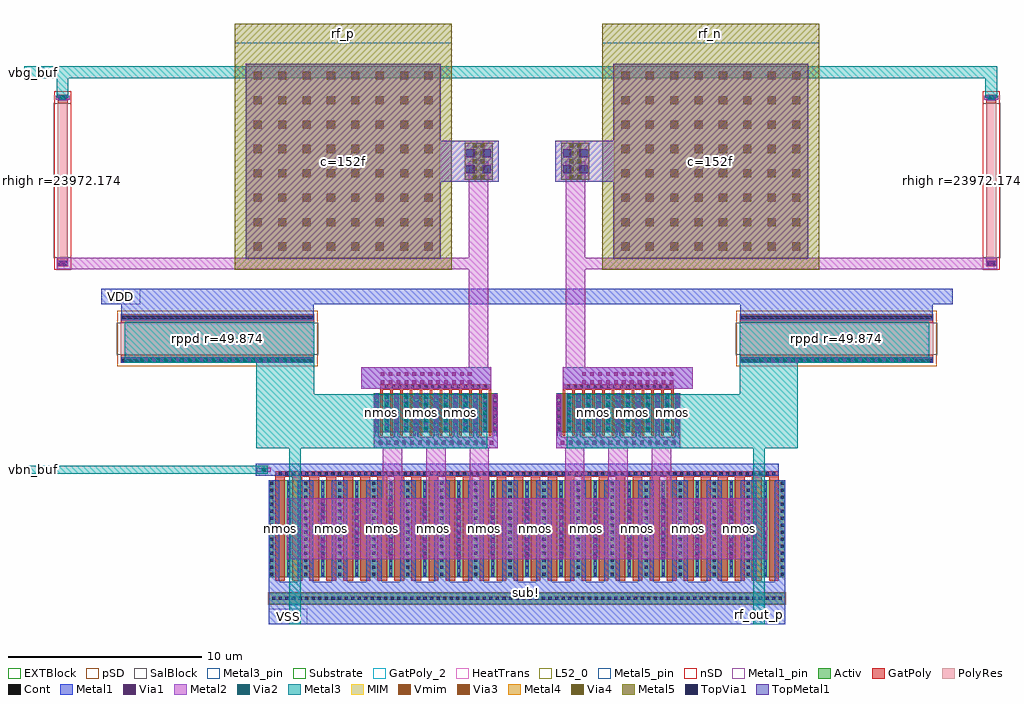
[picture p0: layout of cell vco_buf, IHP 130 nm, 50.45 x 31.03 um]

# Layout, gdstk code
import gdstk
lib = gdstk.Library(unit=1e-6, precision=1e-09)
def R(c, l, rs):  # rectangles x0, y0, x1, y1
    for r in rs: c.add(gdstk.rectangle(r[:2], r[2:], *l))
def A(c, l, x, y, w, h, nx, ny, dx, dy):  # array of equal rectangles
    R(c, l, [(x+i*dx, y+j*dy, x+i*dx+w, y+j*dy+h) for i in range(nx) for j in range(ny)])
def P(c, l, *ps):  # polygons
    for p in ps: c.add(gdstk.Polygon(p, *l))
Activ = (1, 0)
GatPoly = (5, 0)
GatPoly_2 = (5, 2)
Cont = (6, 0)
nSD = (7, 0)
Metal1 = (8, 0)
Metal1_pin = (8, 2)
Metal2 = (10, 0)
pSD = (14, 0)
Via1 = (19, 0)
SalBlock = (28, 0)
Via2 = (29, 0)
Metal3 = (30, 0)
Metal3_pin = (30, 2)
MIM = (36, 0)
Substrate = (40, 0)
Via3 = (49, 0)
Metal4 = (50, 0)
HeatTrans = (51, 0)
L52_0 = (52, 0)
Via4 = (66, 0)
Metal5 = (67, 0)
Metal5_pin = (67, 2)
EXTBlock = (111, 0)
TopVia1 = (125, 0)
TopMetal1 = (126, 0)
PolyRes = (128, 0)
Vmim = (129, 0)

vco_buf = lib.new_cell('vco_buf')
A(vco_buf, Activ, -13.35, -0.3, 0.3, 0.3, 31, 1, 0.88, 0)
A(vco_buf, Activ, -7.92, 4.2, 0.3, 0.3, 13, 1, 0.51, 0)
A(vco_buf, Activ, 1.5, 4.2, 0.3, 0.3, 13, 1, 0.51, 0)
R(vco_buf, Activ, [(-13.35,-6.4,13.35,-5.8), (-13.35,-5,13.35,0), (-7.92,2.5,-1.5,4.5), (1.5,2.5,7.92,4.5)])
A(vco_buf, GatPoly, -13.01, -5.18, 0.5, 5.36, 30, 1, 0.88, 0)
A(vco_buf, GatPoly, -7.58, 2.32, 0.13, 2.36, 12, 1, 0.51, 0)
A(vco_buf, GatPoly, 1.84, 2.32, 0.13, 2.36, 12, 1, 0.51, 0)
R(vco_buf, GatPoly, [(-13.01,0.18,13.01,0.48), (-12.9,0.18,12.9,0.48), (-7.58,4.68,-1.84,4.98), (-7.41,4.68,-2.01,4.98), (1.84,4.68,7.58,4.98), (2.01,4.68,7.41,4.98), (-21,6.07,-11,6.3), (11,6.07,21,6.3), (-21,6.3,-11,6.5), (11,6.3,21,6.5), (-21,8.15,-11,8.35), (11,8.15,21,8.35), (-21,8.35,-11,8.58), (11,8.35,21,8.58), (-24.25,11.07,-23.75,11.5), (23.75,11.07,24.25,11.5), (-24.25,19.5,-23.75,19.93), (23.75,19.5,24.25,19.93)])
R(vco_buf, GatPoly_2, [(-13.01,-5.18,-12.51,0.18), (-7.58,2.32,-7.45,4.68), (7.45,2.32,7.58,4.68)])
A(vco_buf, Cont, -13.17, -6.18, 0.16, 0.16, 78, 1, 0.34, 0)
A(vco_buf, Cont, -13.28, -4.93, 0.16, 0.16, 31, 2, 0.88, 0.365)
A(vco_buf, Cont, -13.28, -4.205, 0.16, 0.16, 31, 2, 0.88, 0.36)
A(vco_buf, Cont, -13.28, -3.48, 0.16, 0.16, 31, 3, 0.88, 0.36)
A(vco_buf, Cont, -13.28, -2.395, 0.16, 0.16, 31, 3, 0.88, 0.36)
A(vco_buf, Cont, -13.28, -1.31, 0.16, 0.16, 31, 4, 0.88, 0.36)
A(vco_buf, Cont, -12.83, 0.25, 0.16, 0.16, 76, 1, 0.34, 0)
A(vco_buf, Cont, -7.85, 2.57, 0.16, 0.16, 13, 6, 0.51, 0.34)
A(vco_buf, Cont, 1.57, 2.57, 0.16, 0.16, 13, 6, 0.51, 0.34)
A(vco_buf, Cont, -7.34, 4.75, 0.16, 0.16, 16, 1, 0.34, 0)
A(vco_buf, Cont, 2.08, 4.75, 0.16, 0.16, 16, 1, 0.34, 0)
R(vco_buf, Cont, [(-20.93,6.14,-11.07,6.3), (11.07,6.14,20.93,6.3), (-20.93,8.35,-11.07,8.51), (11.07,8.35,20.93,8.51), (-24.18,11.14,-23.82,11.3), (23.82,11.14,24.18,11.3), (-24.18,19.7,-23.82,19.86), (23.82,19.7,24.18,19.86)])
R(vco_buf, nSD, [(-24.43,10.89,-23.57,11.68), (23.57,10.89,24.43,11.68), (-24.43,11.5,-23.57,19.5), (-24.43,11.5,-23.57,19.5), (23.57,11.5,24.43,19.5), (23.57,11.5,24.43,19.5), (-24.43,19.32,-23.57,20.11), (23.57,19.32,24.43,20.11)])
R(vco_buf, Metal1, [(-14.01,0.25,13.01,0.85), (-8.58,4.75,-1.84,5.85), (1.84,4.75,8.58,5.85), (-20.98,6.07,-11.02,6.37), (11.02,6.07,20.98,6.37), (-24.23,11.09,-23.77,11.35), (23.77,11.09,24.23,11.35), (-24.23,19.65,-23.77,19.91), (23.77,19.65,24.23,19.91)])
P(vco_buf, Metal1, [(-12.4,-5),(-12.4,-4.08),(-12.425,-4.08),(-12.425,-0.92),(-12.4,-0.92),(-12.4,0),(-12.24,0),(-12.24,-0.92),(-12.215,-0.92),(-12.215,-4.08),(-12.24,-4.08),(-12.24,-5)],
  [(-10.64,-5),(-10.64,-4.08),(-10.665,-4.08),(-10.665,-0.92),(-10.64,-0.92),(-10.64,0),(-10.48,0),(-10.48,-0.92),(-10.455,-0.92),(-10.455,-4.08),(-10.48,-4.08),(-10.48,-5)],
  [(-8.88,-5),(-8.88,-4.08),(-8.905,-4.08),(-8.905,-0.92),(-8.88,-0.92),(-8.88,0),(-8.72,0),(-8.72,-0.92),(-8.695,-0.92),(-8.695,-4.08),(-8.72,-4.08),(-8.72,-5)],
  [(-7.12,-5),(-7.12,-4.08),(-7.145,-4.08),(-7.145,-0.92),(-7.12,-0.92),(-7.12,0),(-6.96,0),(-6.96,-0.92),(-6.935,-0.92),(-6.935,-4.08),(-6.96,-4.08),(-6.96,-5)],
  [(-5.36,-5),(-5.36,-4.08),(-5.385,-4.08),(-5.385,-0.92),(-5.36,-0.92),(-5.36,0),(-5.2,0),(-5.2,-0.92),(-5.175,-0.92),(-5.175,-4.08),(-5.2,-4.08),(-5.2,-5)],
  [(-3.6,-5),(-3.6,-4.08),(-3.625,-4.08),(-3.625,-0.92),(-3.6,-0.92),(-3.6,0),(-3.44,0),(-3.44,-0.92),(-3.415,-0.92),(-3.415,-4.08),(-3.44,-4.08),(-3.44,-5)],
  [(-1.84,-5),(-1.84,-4.08),(-1.865,-4.08),(-1.865,-0.92),(-1.84,-0.92),(-1.84,0),(-1.68,0),(-1.68,-0.92),(-1.655,-0.92),(-1.655,-4.08),(-1.68,-4.08),(-1.68,-5)],
  [(-0.08,-5),(-0.08,-4.08),(-0.105,-4.08),(-0.105,-0.92),(-0.08,-0.92),(-0.08,0),(0.08,0),(0.08,-0.92),(0.105,-0.92),(0.105,-4.08),(0.08,-4.08),(0.08,-5)],
  [(1.68,-5),(1.68,-4.08),(1.655,-4.08),(1.655,-0.92),(1.68,-0.92),(1.68,0),(1.84,0),(1.84,-0.92),(1.865,-0.92),(1.865,-4.08),(1.84,-4.08),(1.84,-5)],
  [(3.44,-5),(3.44,-4.08),(3.415,-4.08),(3.415,-0.92),(3.44,-0.92),(3.44,0),(3.6,0),(3.6,-0.92),(3.625,-0.92),(3.625,-4.08),(3.6,-4.08),(3.6,-5)],
  [(5.2,-5),(5.2,-4.08),(5.175,-4.08),(5.175,-0.92),(5.2,-0.92),(5.2,0),(5.36,0),(5.36,-0.92),(5.385,-0.92),(5.385,-4.08),(5.36,-4.08),(5.36,-5)],
  [(6.96,-5),(6.96,-4.08),(6.935,-4.08),(6.935,-0.92),(6.96,-0.92),(6.96,0),(7.12,0),(7.12,-0.92),(7.145,-0.92),(7.145,-4.08),(7.12,-4.08),(7.12,-5)],
  [(8.72,-5),(8.72,-4.08),(8.695,-4.08),(8.695,-0.92),(8.72,-0.92),(8.72,0),(8.88,0),(8.88,-0.92),(8.905,-0.92),(8.905,-4.08),(8.88,-4.08),(8.88,-5)],
  [(10.48,-5),(10.48,-4.08),(10.455,-4.08),(10.455,-0.92),(10.48,-0.92),(10.48,0),(10.64,0),(10.64,-0.92),(10.665,-0.92),(10.665,-4.08),(10.64,-4.08),(10.64,-5)],
  [(12.24,-5),(12.24,-4.08),(12.215,-4.08),(12.215,-0.92),(12.24,-0.92),(12.24,0),(12.4,0),(12.4,-0.92),(12.425,-0.92),(12.425,-4.08),(12.4,-4.08),(12.4,-5)],
  [(-13.35,-7.43),(-13.35,0),(-12.8,0),(-12.8,-5.25),(-11.84,-5.25),(-11.84,0),(-11.04,0),(-11.04,-5.25),(-10.08,-5.25),(-10.08,0),(-9.28,0),(-9.28,-5.25),(-8.32,-5.25),(-8.32,0),(-7.52,0),(-7.52,-5.25),(-6.56,-5.25),(-6.56,0),(-5.76,0),(-5.76,-5.25),(-4.8,-5.25),(-4.8,0),(-4,0),(-4,-5.25),(-3.04,-5.25),(-3.04,0),(-2.24,0),(-2.24,-5.25),(-1.28,-5.25),(-1.28,0),(-0.48,0),(-0.48,-5.25),(0.48,-5.25),(0.48,0),(1.28,0),(1.28,-5.25),(2.24,-5.25),(2.24,0),(3.04,0),(3.04,-5.25),(4,-5.25),(4,0),(4.8,0),(4.8,-5.25),(5.76,-5.25),(5.76,0),(6.56,0),(6.56,-5.25),(7.52,-5.25),(7.52,0),(8.32,0),(8.32,-5.25),(9.28,-5.25),(9.28,0),(10.08,0),(10.08,-5.25),(11.04,-5.25),(11.04,0),(11.84,0),(11.84,-5.25),(12.8,-5.25),(12.8,0),(13.35,0),(13.35,-7.43)],
  [(-7.34,2.5),(-7.34,2.535),(-7.365,2.535),(-7.365,4.465),(-7.34,4.465),(-7.34,4.5),(-7.18,4.5),(-7.18,4.465),(-7.155,4.465),(-7.155,2.535),(-7.18,2.535),(-7.18,2.5)],
  [(-6.32,2.5),(-6.32,2.535),(-6.345,2.535),(-6.345,4.465),(-6.32,4.465),(-6.32,4.5),(-6.16,4.5),(-6.16,4.465),(-6.135,4.465),(-6.135,2.535),(-6.16,2.535),(-6.16,2.5)],
  [(-5.3,2.5),(-5.3,2.535),(-5.325,2.535),(-5.325,4.465),(-5.3,4.465),(-5.3,4.5),(-5.14,4.5),(-5.14,4.465),(-5.115,4.465),(-5.115,2.535),(-5.14,2.535),(-5.14,2.5)],
  [(-4.28,2.5),(-4.28,2.535),(-4.305,2.535),(-4.305,4.465),(-4.28,4.465),(-4.28,4.5),(-4.12,4.5),(-4.12,4.465),(-4.095,4.465),(-4.095,2.535),(-4.12,2.535),(-4.12,2.5)],
  [(-3.26,2.5),(-3.26,2.535),(-3.285,2.535),(-3.285,4.465),(-3.26,4.465),(-3.26,4.5),(-3.1,4.5),(-3.1,4.465),(-3.075,4.465),(-3.075,2.535),(-3.1,2.535),(-3.1,2.5)],
  [(-2.24,2.5),(-2.24,2.535),(-2.265,2.535),(-2.265,4.465),(-2.24,4.465),(-2.24,4.5),(-2.08,4.5),(-2.08,4.465),(-2.055,4.465),(-2.055,2.535),(-2.08,2.535),(-2.08,2.5)],
  [(-7.92,1.65),(-7.92,2.25),(-7.85,2.25),(-7.85,2.535),(-7.875,2.535),(-7.875,4.465),(-7.85,4.465),(-7.85,4.5),(-7.69,4.5),(-7.69,4.465),(-7.665,4.465),(-7.665,2.535),(-7.69,2.535),(-7.69,2.25),(-6.83,2.25),(-6.83,2.535),(-6.855,2.535),(-6.855,4.465),(-6.83,4.465),(-6.83,4.5),(-6.67,4.5),(-6.67,4.465),(-6.645,4.465),(-6.645,2.535),(-6.67,2.535),(-6.67,2.25),(-5.81,2.25),(-5.81,2.535),(-5.835,2.535),(-5.835,4.465),(-5.81,4.465),(-5.81,4.5),(-5.65,4.5),(-5.65,4.465),(-5.625,4.465),(-5.625,2.535),(-5.65,2.535),(-5.65,2.25),(-4.79,2.25),(-4.79,2.535),(-4.815,2.535),(-4.815,4.465),(-4.79,4.465),(-4.79,4.5),(-4.63,4.5),(-4.63,4.465),(-4.605,4.465),(-4.605,2.535),(-4.63,2.535),(-4.63,2.25),(-3.77,2.25),(-3.77,2.535),(-3.795,2.535),(-3.795,4.465),(-3.77,4.465),(-3.77,4.5),(-3.61,4.5),(-3.61,4.465),(-3.585,4.465),(-3.585,2.535),(-3.61,2.535),(-3.61,2.25),(-2.75,2.25),(-2.75,2.535),(-2.775,2.535),(-2.775,4.465),(-2.75,4.465),(-2.75,4.5),(-2.59,4.5),(-2.59,4.465),(-2.565,4.465),(-2.565,2.535),(-2.59,2.535),(-2.59,2.25),(-1.73,2.25),(-1.73,2.535),(-1.755,2.535),(-1.755,4.465),(-1.73,4.465),(-1.73,4.5),(-1.57,4.5),(-1.57,4.465),(-1.545,4.465),(-1.545,2.535),(-1.57,2.535),(-1.57,2.25),(-1.5,2.25),(-1.5,1.65)],
  [(2.08,2.5),(2.08,2.535),(2.055,2.535),(2.055,4.465),(2.08,4.465),(2.08,4.5),(2.24,4.5),(2.24,4.465),(2.265,4.465),(2.265,2.535),(2.24,2.535),(2.24,2.5)],
  [(3.1,2.5),(3.1,2.535),(3.075,2.535),(3.075,4.465),(3.1,4.465),(3.1,4.5),(3.26,4.5),(3.26,4.465),(3.285,4.465),(3.285,2.535),(3.26,2.535),(3.26,2.5)],
  [(4.12,2.5),(4.12,2.535),(4.095,2.535),(4.095,4.465),(4.12,4.465),(4.12,4.5),(4.28,4.5),(4.28,4.465),(4.305,4.465),(4.305,2.535),(4.28,2.535),(4.28,2.5)],
  [(5.14,2.5),(5.14,2.535),(5.115,2.535),(5.115,4.465),(5.14,4.465),(5.14,4.5),(5.3,4.5),(5.3,4.465),(5.325,4.465),(5.325,2.535),(5.3,2.535),(5.3,2.5)],
  [(6.16,2.5),(6.16,2.535),(6.135,2.535),(6.135,4.465),(6.16,4.465),(6.16,4.5),(6.32,4.5),(6.32,4.465),(6.345,4.465),(6.345,2.535),(6.32,2.535),(6.32,2.5)],
  [(7.18,2.5),(7.18,2.535),(7.155,2.535),(7.155,4.465),(7.18,4.465),(7.18,4.5),(7.34,4.5),(7.34,4.465),(7.365,4.465),(7.365,2.535),(7.34,2.535),(7.34,2.5)],
  [(1.5,1.65),(1.5,2.25),(1.57,2.25),(1.57,2.535),(1.545,2.535),(1.545,4.465),(1.57,4.465),(1.57,4.5),(1.73,4.5),(1.73,4.465),(1.755,4.465),(1.755,2.535),(1.73,2.535),(1.73,2.25),(2.59,2.25),(2.59,2.535),(2.565,2.535),(2.565,4.465),(2.59,4.465),(2.59,4.5),(2.75,4.5),(2.75,4.465),(2.775,4.465),(2.775,2.535),(2.75,2.535),(2.75,2.25),(3.61,2.25),(3.61,2.535),(3.585,2.535),(3.585,4.465),(3.61,4.465),(3.61,4.5),(3.77,4.5),(3.77,4.465),(3.795,4.465),(3.795,2.535),(3.77,2.535),(3.77,2.25),(4.63,2.25),(4.63,2.535),(4.605,2.535),(4.605,4.465),(4.63,4.465),(4.63,4.5),(4.79,4.5),(4.79,4.465),(4.815,4.465),(4.815,2.535),(4.79,2.535),(4.79,2.25),(5.65,2.25),(5.65,2.535),(5.625,2.535),(5.625,4.465),(5.65,4.465),(5.65,4.5),(5.81,4.5),(5.81,4.465),(5.835,4.465),(5.835,2.535),(5.81,2.535),(5.81,2.25),(6.67,2.25),(6.67,2.535),(6.645,2.535),(6.645,4.465),(6.67,4.465),(6.67,4.5),(6.83,4.5),(6.83,4.465),(6.855,4.465),(6.855,2.535),(6.83,2.535),(6.83,2.25),(7.69,2.25),(7.69,2.535),(7.665,2.535),(7.665,4.465),(7.69,4.465),(7.69,4.5),(7.85,4.5),(7.85,4.465),(7.875,4.465),(7.875,2.535),(7.85,2.535),(7.85,2.25),(7.92,2.25),(7.92,1.65)],
  [(-20.98,8.28),(-20.98,9.1),(-22,9.1),(-22,9.9),(22,9.9),(22,9.1),(20.98,9.1),(20.98,8.28),(11.02,8.28),(11.02,9.1),(-11.02,9.1),(-11.02,8.28)])
R(vco_buf, Metal1_pin, [(-13.35,-7.43,-11.35,-6.63), (-13.17,-6.18,13.17,-6.02), (-13.28,-5,-13.12,0), (-12.4,-5,-12.24,0), (-7.85,2.5,-7.69,4.5), (-7.34,2.5,-7.18,4.5), (7.18,2.5,7.34,4.5), (7.69,2.5,7.85,4.5), (-20.98,6.07,-11.02,6.37), (11.02,6.07,20.98,6.37), (-20.98,8.28,-11.02,8.58), (11.02,8.28,20.98,8.58), (-22,9.1,-20,9.9), (-24.23,11.09,-23.77,11.35), (23.77,11.09,24.23,11.35), (-24.23,19.65,-23.77,19.91), (23.77,19.65,24.23,19.91)])
A(vco_buf, Metal2, -7.36, 2.535, 0.2, 1.93, 6, 1, 1.02, 0)
A(vco_buf, Metal2, 2.06, 2.535, 0.2, 1.93, 6, 1, 1.02, 0)
R(vco_buf, Metal2, [(-13.975,0.45,-13.245,0.65), (-20.04,6.12,-11.96,6.32), (11.96,6.12,20.04,6.32), (-24.365,19.68,-23.635,19.88), (23.635,19.68,24.365,19.88)])
P(vco_buf, Metal2, [(-12.42,-4.08),(-12.42,-0.92),(-7.455,-0.92),(-7.455,1.65),(-6.455,1.65),(-6.455,-0.92),(-5.21,-0.92),(-5.21,1.65),(-4.21,1.65),(-4.21,-0.92),(-2.965,-0.92),(-2.965,1.65),(-7.92,1.65),(-7.92,2.25),(-7.915,2.25),(-7.915,4.45),(-7.87,4.45),(-7.87,4.465),(-7.67,4.465),(-7.67,4.45),(-7.625,4.45),(-7.625,2.25),(-6.895,2.25),(-6.895,4.45),(-6.85,4.45),(-6.85,4.465),(-6.65,4.465),(-6.65,4.45),(-6.605,4.45),(-6.605,2.25),(-5.875,2.25),(-5.875,4.45),(-5.83,4.45),(-5.83,4.465),(-5.63,4.465),(-5.63,4.45),(-5.585,4.45),(-5.585,2.25),(-4.855,2.25),(-4.855,4.45),(-4.81,4.45),(-4.81,4.465),(-4.61,4.465),(-4.61,4.45),(-4.565,4.45),(-4.565,2.25),(-3.835,2.25),(-3.835,4.45),(-3.79,4.45),(-3.79,4.465),(-3.59,4.465),(-3.59,4.45),(-3.545,4.45),(-3.545,2.25),(-2.815,2.25),(-2.815,4.45),(-2.77,4.45),(-2.77,4.465),(-2.57,4.465),(-2.57,4.45),(-2.525,4.45),(-2.525,2.25),(-1.795,2.25),(-1.795,4.45),(-1.75,4.45),(-1.75,4.465),(-1.55,4.465),(-1.55,4.45),(-1.505,4.45),(-1.505,2.25),(-1.5,2.25),(-1.5,1.65),(-1.965,1.65),(-1.965,-0.92),(1.965,-0.92),(1.965,1.65),(2.965,1.65),(2.965,-0.92),(4.21,-0.92),(4.21,1.65),(5.21,1.65),(5.21,-0.92),(6.455,-0.92),(6.455,1.65),(1.5,1.65),(1.5,2.25),(1.505,2.25),(1.505,4.45),(1.55,4.45),(1.55,4.465),(1.75,4.465),(1.75,4.45),(1.795,4.45),(1.795,2.25),(2.525,2.25),(2.525,4.45),(2.57,4.45),(2.57,4.465),(2.77,4.465),(2.77,4.45),(2.815,4.45),(2.815,2.25),(3.545,2.25),(3.545,4.45),(3.59,4.45),(3.59,4.465),(3.79,4.465),(3.79,4.45),(3.835,4.45),(3.835,2.25),(4.565,2.25),(4.565,4.45),(4.61,4.45),(4.61,4.465),(4.81,4.465),(4.81,4.45),(4.855,4.45),(4.855,2.25),(5.585,2.25),(5.585,4.45),(5.63,4.45),(5.63,4.465),(5.83,4.465),(5.83,4.45),(5.875,4.45),(5.875,2.25),(6.605,2.25),(6.605,4.45),(6.65,4.45),(6.65,4.465),(6.85,4.465),(6.85,4.45),(6.895,4.45),(6.895,2.25),(7.625,2.25),(7.625,4.45),(7.67,4.45),(7.67,4.465),(7.87,4.465),(7.87,4.45),(7.915,4.45),(7.915,2.25),(7.92,2.25),(7.92,1.65),(7.455,1.65),(7.455,-0.92),(12.42,-0.92),(12.42,-4.08)],
  [(-8.58,4.75),(-8.58,5.85),(-3,5.85),(-3,10.92),(-24.3,10.92),(-24.3,11.52),(-3,11.52),(-3,16.5),(-2.805,16.5),(-2.805,17.465),(-2.195,17.465),(-2.195,16.5),(-2,16.5),(-2,5.85),(-1.84,5.85),(-1.84,4.75)],
  [(1.84,4.75),(1.84,5.85),(2,5.85),(2,16.5),(2.195,16.5),(2.195,17.465),(2.805,17.465),(2.805,16.5),(3,16.5),(3,11.52),(24.3,11.52),(24.3,10.92),(3,10.92),(3,5.85),(8.58,5.85),(8.58,4.75)])
R(vco_buf, pSD, [(-13.38,-6.43,13.38,-5.77), (-21.18,5.89,-10.82,6.5), (10.82,5.89,21.18,6.5), (-21.18,6.5,-10.82,8.15), (10.82,6.5,21.18,8.15), (-21.18,8.15,-10.82,8.76), (10.82,8.15,21.18,8.76), (-24.43,10.89,-23.57,11.68), (23.57,10.89,24.43,11.68), (-24.43,11.5,-23.57,19.5), (-24.43,11.5,-23.57,19.5), (23.57,11.5,24.43,19.5), (23.57,11.5,24.43,19.5), (-24.43,19.32,-23.57,20.11), (23.57,19.32,24.43,20.11)])
A(vco_buf, Via1, -12.415, -4.03, 0.19, 0.19, 15, 8, 1.76, 0.41)
A(vco_buf, Via1, -7.675, 1.855, 0.19, 0.19, 15, 1, 0.41, 0)
A(vco_buf, Via1, 1.745, 1.855, 0.19, 0.19, 15, 1, 0.41, 0)
A(vco_buf, Via1, -7.865, 2.585, 0.19, 0.19, 13, 5, 0.51, 0.41)
A(vco_buf, Via1, 1.555, 2.585, 0.19, 0.19, 13, 5, 0.51, 0.41)
A(vco_buf, Via1, -7.56, 5, 0.19, 0.19, 12, 2, 0.41, 0.41)
A(vco_buf, Via1, 2.86, 5, 0.19, 0.19, 12, 2, 0.41, 0.41)
A(vco_buf, Via1, -19.99, 6.125, 0.19, 0.19, 20, 1, 0.41, 0)
A(vco_buf, Via1, 12.01, 6.125, 0.19, 0.19, 20, 1, 0.41, 0)
R(vco_buf, Via1, [(-13.705,0.455,-13.515,0.645), (-24.095,11.125,-23.905,11.315), (23.905,11.125,24.095,11.315), (-24.095,19.685,-23.905,19.875), (23.905,19.685,24.095,19.875)])
R(vco_buf, SalBlock, [(-21.2,6.5,-10.8,8.15), (10.8,6.5,21.2,8.15), (-24.45,11.5,-23.55,19.5), (23.55,11.5,24.45,19.5)])
A(vco_buf, Via2, -7.355, 2.585, 0.19, 0.19, 6, 5, 1.02, 0.41)
A(vco_buf, Via2, 2.065, 2.585, 0.19, 0.19, 6, 5, 1.02, 0.41)
A(vco_buf, Via2, -19.99, 6.125, 0.19, 0.19, 20, 1, 0.41, 0)
A(vco_buf, Via2, 12.01, 6.125, 0.19, 0.19, 20, 1, 0.41, 0)
A(vco_buf, Via2, -2.8, 15.585, 0.19, 0.19, 1, 5, 0, 0.41)
A(vco_buf, Via2, -2.39, 15.585, 0.19, 0.19, 1, 5, 0, 0.41)
A(vco_buf, Via2, 2.2, 15.585, 0.19, 0.19, 1, 5, 0, 0.41)
A(vco_buf, Via2, 2.61, 15.585, 0.19, 0.19, 1, 5, 0, 0.41)
R(vco_buf, Via2, [(-13.705,0.455,-13.515,0.645), (-24.095,19.685,-23.905,19.875), (23.905,19.685,24.095,19.875)])
R(vco_buf, Metal3, [(-26,0.35,-13.41,0.75), (-2.805,15.535,-2.195,17.465), (2.195,15.535,2.805,17.465)])
P(vco_buf, Metal3, [(-12.3,-7.43),(-12.3,1.65),(-14,1.65),(-14,6.07),(-20.78,6.07),(-20.78,8.2),(-11,8.2),(-11,4.465),(-2.06,4.465),(-2.06,1.65),(-11.7,1.65),(-11.7,-7.43)],
  [(11.7,-7.43),(11.7,1.65),(2.06,1.65),(2.06,4.465),(11,4.465),(11,8.2),(20.78,8.2),(20.78,6.07),(14,6.07),(14,1.65),(12.3,1.65),(12.3,-7.43)],
  [(-24.145,19.68),(-24.145,19.78),(-24.3,19.78),(-24.3,20.8),(-26,20.8),(-26,21.4),(24.3,21.4),(24.3,19.78),(24.145,19.78),(24.145,19.68),(23.855,19.68),(23.855,19.78),(23.7,19.78),(23.7,20.8),(-23.7,20.8),(-23.7,19.78),(-23.855,19.78),(-23.855,19.68)])
R(vco_buf, Metal3_pin, [(-12.3,-7.43,-11.7,-6.43), (11.7,-7.43,12.3,-6.43), (-26,0.35,-25,0.75), (-26,20.8,-25,21.4)])
R(vco_buf, MIM, [(-14.5,11.5,-4.5,21.5), (4.5,11.5,14.5,21.5)])
R(vco_buf, Substrate, [(-13.35,-6.4,13.35,-5.8)])
A(vco_buf, Via3, -2.8, 15.585, 0.19, 0.19, 1, 5, 0, 0.41)
A(vco_buf, Via3, -2.39, 15.585, 0.19, 0.19, 1, 5, 0, 0.41)
A(vco_buf, Via3, 2.2, 15.585, 0.19, 0.19, 1, 5, 0, 0.41)
A(vco_buf, Via3, 2.61, 15.585, 0.19, 0.19, 1, 5, 0, 0.41)
R(vco_buf, Metal4, [(-2.805,15.535,-2.195,17.465), (2.195,15.535,2.805,17.465)])
A(vco_buf, HeatTrans, -13.01, -5.18, 0.5, 5.36, 30, 1, 0.88, 0)
A(vco_buf, HeatTrans, -7.58, 2.32, 0.13, 2.36, 12, 1, 0.51, 0)
A(vco_buf, HeatTrans, 1.84, 2.32, 0.13, 2.36, 12, 1, 0.51, 0)
R(vco_buf, L52_0, [(-21,6.5,-11,8.15), (11,6.5,21,8.15), (-24.25,11.5,-23.75,19.5), (23.75,11.5,24.25,19.5)])
A(vco_buf, Via4, -2.8, 15.585, 0.19, 0.19, 1, 5, 0, 0.41)
A(vco_buf, Via4, -2.39, 15.585, 0.19, 0.19, 1, 5, 0, 0.41)
A(vco_buf, Via4, 2.2, 15.585, 0.19, 0.19, 1, 5, 0, 0.41)
A(vco_buf, Via4, 2.61, 15.585, 0.19, 0.19, 1, 5, 0, 0.41)
R(vco_buf, Metal5, [(-15.1,10.9,-3.9,23.6), (3.9,10.9,15.1,23.6), (-3.23,15.535,-1.77,17.465), (1.77,15.535,3.23,17.465)])
R(vco_buf, Metal5_pin, [(-15.1,22.6,-3.9,23.6), (3.9,22.6,15.1,23.6)])
R(vco_buf, EXTBlock, [(-21.18,5.89,-10.82,6.5), (10.82,5.89,21.18,6.5), (-21.2,6.5,-10.8,8.15), (10.8,6.5,21.2,8.15), (-21.18,8.15,-10.82,8.76), (10.82,8.15,21.18,8.76), (-24.43,10.89,-23.57,11.68), (23.57,10.89,24.43,11.68), (-24.45,11.5,-23.55,19.5), (23.55,11.5,24.45,19.5), (-24.43,19.32,-23.57,20.11), (23.57,19.32,24.43,20.11)])
R(vco_buf, TopVia1, [(-3.13,15.87,-2.71,16.29), (-2.29,15.87,-1.87,16.29), (1.87,15.87,2.29,16.29), (2.71,15.87,3.13,16.29), (-3.13,16.71,-2.71,17.13), (-2.29,16.71,-1.87,17.13), (1.87,16.71,2.29,17.13), (2.71,16.71,3.13,17.13)])
P(vco_buf, TopMetal1, [(-14.54,11.46),(-14.54,21.54),(-4.46,21.54),(-4.46,17.55),(-1.45,17.55),(-1.45,15.45),(-4.46,15.45),(-4.46,11.46)],
  [(4.46,11.46),(4.46,15.45),(1.45,15.45),(1.45,17.55),(4.46,17.55),(4.46,21.54),(14.54,21.54),(14.54,11.46)])
R(vco_buf, PolyRes, [(-21,6.5,-11,8.15), (11,6.5,21,8.15), (-24.25,11.5,-23.75,19.5), (23.75,11.5,24.25,19.5)])
A(vco_buf, Vmim, -14.12, 11.88, 0.42, 0.42, 8, 8, 1.26, 1.26)
A(vco_buf, Vmim, 4.88, 11.88, 0.42, 0.42, 8, 8, 1.26, 1.26)
vco_buf.add(gdstk.Label('nmos', (-12.76,-2.5), layer=63, texttype=0))
vco_buf.add(gdstk.Label('sub!', (0,-5.81), layer=63, texttype=0))
vco_buf.add(gdstk.Label('nmos', (-7.515,3.5), layer=63, texttype=0))
vco_buf.add(gdstk.Label('nmos', (7.515,3.5), layer=63, texttype=0))
vco_buf.add(gdstk.Label('rppd r=49.874', (-16,7.325), layer=63, texttype=0))
vco_buf.add(gdstk.Label('c=152f', (-9.5,16.5), layer=63, texttype=0))
vco_buf.add(gdstk.Label('cmim', (-9.5,16.5), layer=63, texttype=0))
vco_buf.add(gdstk.Label('rhigh r=23972.174', (-24,15.5), layer=63, texttype=0))
vco_buf.add(gdstk.Label('rppd r=49.874', (16,7.325), layer=63, texttype=0))
vco_buf.add(gdstk.Label('c=152f', (9.5,16.5), layer=63, texttype=0))
vco_buf.add(gdstk.Label('cmim', (9.5,16.5), layer=63, texttype=0))
vco_buf.add(gdstk.Label('rhigh r=23972.174', (24,15.5), layer=63, texttype=0))
vco_buf.add(gdstk.Label('sub!', (0,-5.81), layer=40, texttype=0))
vco_buf.add(gdstk.Label('VSS', (-12.35,-7.03), layer=8, texttype=25))
vco_buf.add(gdstk.Label('VDD', (-21,9.5), layer=8, texttype=25))
vco_buf.add(gdstk.Label('vbn_buf', (-25.5,0.55), layer=30, texttype=25))
vco_buf.add(gdstk.Label('rf_out_n', (-12,-6.93), layer=30, texttype=25))
vco_buf.add(gdstk.Label('rf_out_p', (12,-6.93), layer=30, texttype=25))
vco_buf.add(gdstk.Label('vbg_buf', (-25.5,21.1), layer=30, texttype=25))
vco_buf.add(gdstk.Label('rf_p', (-9.5,23.1), layer=67, texttype=25))
vco_buf.add(gdstk.Label('rf_n', (9.5,23.1), layer=67, texttype=25))
vco_buf.add(gdstk.Label('nmos', (-12.76,-2.5), layer=51, texttype=0))
vco_buf.add(gdstk.Label('nmos', (-11.88,-2.5), layer=51, texttype=0))
vco_buf.add(gdstk.Label('nmos', (-11,-2.5), layer=51, texttype=0))
vco_buf.add(gdstk.Label('nmos', (-10.12,-2.5), layer=51, texttype=0))
vco_buf.add(gdstk.Label('nmos', (-9.24,-2.5), layer=51, texttype=0))
vco_buf.add(gdstk.Label('nmos', (-8.36,-2.5), layer=51, texttype=0))
vco_buf.add(gdstk.Label('nmos', (-7.48,-2.5), layer=51, texttype=0))
vco_buf.add(gdstk.Label('nmos', (-6.6,-2.5), layer=51, texttype=0))
vco_buf.add(gdstk.Label('nmos', (-5.72,-2.5), layer=51, texttype=0))
vco_buf.add(gdstk.Label('nmos', (-4.84,-2.5), layer=51, texttype=0))
vco_buf.add(gdstk.Label('nmos', (-3.96,-2.5), layer=51, texttype=0))
vco_buf.add(gdstk.Label('nmos', (-3.08,-2.5), layer=51, texttype=0))
vco_buf.add(gdstk.Label('nmos', (-2.2,-2.5), layer=51, texttype=0))
vco_buf.add(gdstk.Label('nmos', (-1.32,-2.5), layer=51, texttype=0))
vco_buf.add(gdstk.Label('nmos', (-0.44,-2.5), layer=51, texttype=0))
vco_buf.add(gdstk.Label('nmos', (0.44,-2.5), layer=51, texttype=0))
vco_buf.add(gdstk.Label('nmos', (1.32,-2.5), layer=51, texttype=0))
vco_buf.add(gdstk.Label('nmos', (2.2,-2.5), layer=51, texttype=0))
vco_buf.add(gdstk.Label('nmos', (3.08,-2.5), layer=51, texttype=0))
vco_buf.add(gdstk.Label('nmos', (3.96,-2.5), layer=51, texttype=0))
vco_buf.add(gdstk.Label('nmos', (4.84,-2.5), layer=51, texttype=0))
vco_buf.add(gdstk.Label('nmos', (5.72,-2.5), layer=51, texttype=0))
vco_buf.add(gdstk.Label('nmos', (6.6,-2.5), layer=51, texttype=0))
vco_buf.add(gdstk.Label('nmos', (7.48,-2.5), layer=51, texttype=0))
vco_buf.add(gdstk.Label('nmos', (8.36,-2.5), layer=51, texttype=0))
vco_buf.add(gdstk.Label('nmos', (9.24,-2.5), layer=51, texttype=0))
vco_buf.add(gdstk.Label('nmos', (10.12,-2.5), layer=51, texttype=0))
vco_buf.add(gdstk.Label('nmos', (11,-2.5), layer=51, texttype=0))
vco_buf.add(gdstk.Label('nmos', (11.88,-2.5), layer=51, texttype=0))
vco_buf.add(gdstk.Label('nmos', (12.76,-2.5), layer=51, texttype=0))
vco_buf.add(gdstk.Label('nmos', (-7.515,3.5), layer=51, texttype=0))
vco_buf.add(gdstk.Label('nmos', (-7.005,3.5), layer=51, texttype=0))
vco_buf.add(gdstk.Label('nmos', (-6.495,3.5), layer=51, texttype=0))
vco_buf.add(gdstk.Label('nmos', (-5.985,3.5), layer=51, texttype=0))
vco_buf.add(gdstk.Label('nmos', (-5.475,3.5), layer=51, texttype=0))
vco_buf.add(gdstk.Label('nmos', (-4.965,3.5), layer=51, texttype=0))
vco_buf.add(gdstk.Label('nmos', (-4.455,3.5), layer=51, texttype=0))
vco_buf.add(gdstk.Label('nmos', (-3.945,3.5), layer=51, texttype=0))
vco_buf.add(gdstk.Label('nmos', (-3.435,3.5), layer=51, texttype=0))
vco_buf.add(gdstk.Label('nmos', (-2.925,3.5), layer=51, texttype=0))
vco_buf.add(gdstk.Label('nmos', (-2.415,3.5), layer=51, texttype=0))
vco_buf.add(gdstk.Label('nmos', (-1.905,3.5), layer=51, texttype=0))
vco_buf.add(gdstk.Label('nmos', (7.515,3.5), layer=51, texttype=0))
vco_buf.add(gdstk.Label('nmos', (7.005,3.5), layer=51, texttype=0))
vco_buf.add(gdstk.Label('nmos', (6.495,3.5), layer=51, texttype=0))
vco_buf.add(gdstk.Label('nmos', (5.985,3.5), layer=51, texttype=0))
vco_buf.add(gdstk.Label('nmos', (5.475,3.5), layer=51, texttype=0))
vco_buf.add(gdstk.Label('nmos', (4.965,3.5), layer=51, texttype=0))
vco_buf.add(gdstk.Label('nmos', (4.455,3.5), layer=51, texttype=0))
vco_buf.add(gdstk.Label('nmos', (3.945,3.5), layer=51, texttype=0))
vco_buf.add(gdstk.Label('nmos', (3.435,3.5), layer=51, texttype=0))
vco_buf.add(gdstk.Label('nmos', (2.925,3.5), layer=51, texttype=0))
vco_buf.add(gdstk.Label('nmos', (2.415,3.5), layer=51, texttype=0))
vco_buf.add(gdstk.Label('nmos', (1.905,3.5), layer=51, texttype=0))
vco_buf.add(gdstk.Label('rppd', (-16,7.325), layer=52, texttype=0))
vco_buf.add(gdstk.Label('rhigh', (-24,15.5), layer=52, texttype=0))
vco_buf.add(gdstk.Label('rppd', (16,7.325), layer=52, texttype=0))
vco_buf.add(gdstk.Label('rhigh', (24,15.5), layer=52, texttype=0))

lib.write_gds('vco_buf.gds')
